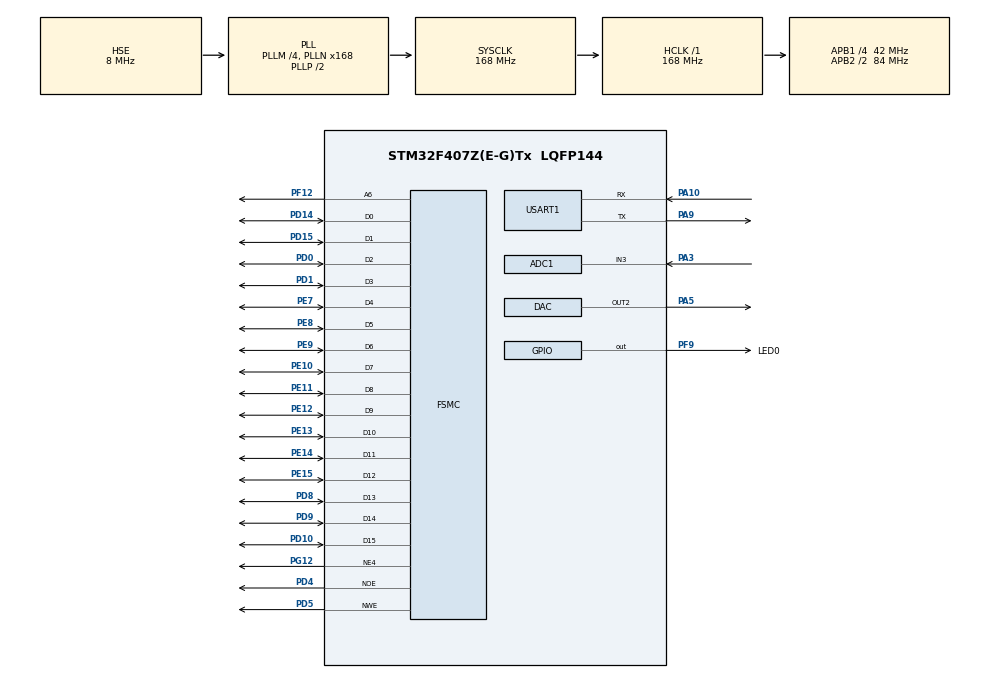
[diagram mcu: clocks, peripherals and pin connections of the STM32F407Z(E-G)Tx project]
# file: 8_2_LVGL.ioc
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ADC1.Channel-1\#ChannelRegularConversion=ADC_CHANNEL_3
ADC1.ContinuousConvMode=DISABLE
ADC1.ExternalTrigConv=ADC_EXTERNALTRIGCONV_T8_TRGO
ADC1.NbrOfConversionFlag=1
ADC1.Rank-1\#ChannelRegularConversion=1
ADC1.SamplingTime-1\#ChannelRegularConversion=ADC_SAMPLETIME_3CYCLES
ADC1.master=1
DAC.DAC_OutputBuffer2=DAC_OUTPUTBUFFER_DISABLE
DAC.DAC_Trigger2=DAC_TRIGGER_T2_TRGO
Dma.ADC1.1.Direction=DMA_PERIPH_TO_MEMORY
Dma.ADC1.1.FIFOMode=DMA_FIFOMODE_DISABLE
Dma.ADC1.1.Instance=DMA2_Stream0
Dma.ADC1.1.MemDataAlignment=DMA_MDATAALIGN_WORD
Dma.ADC1.1.MemInc=DMA_MINC_ENABLE
Dma.ADC1.1.Mode=DMA_NORMAL
Dma.ADC1.1.PeriphDataAlignment=DMA_PDATAALIGN_WORD
Dma.ADC1.1.PeriphInc=DMA_PINC_DISABLE
Dma.ADC1.1.Priority=DMA_PRIORITY_LOW
Dma.DAC2.0.Direction=DMA_MEMORY_TO_PERIPH
Dma.DAC2.0.FIFOMode=DMA_FIFOMODE_DISABLE
Dma.DAC2.0.Instance=DMA1_Stream6
Dma.DAC2.0.MemDataAlignment=DMA_MDATAALIGN_HALFWORD
Dma.DAC2.0.MemInc=DMA_MINC_ENABLE
Dma.DAC2.0.Mode=DMA_CIRCULAR
Dma.DAC2.0.PeriphDataAlignment=DMA_PDATAALIGN_HALFWORD
Dma.DAC2.0.PeriphInc=DMA_PINC_DISABLE
Dma.DAC2.0.Priority=DMA_PRIORITY_LOW
Dma.Request0=DAC2
Dma.Request1=ADC1
FSMC.BusTurnAroundDuration1=0
FSMC.DataSetupTime1=60
FSMC.ExtendedAddressSetupTime1=9
FSMC.ExtendedBusTurnAroundDuration1=0
FSMC.ExtendedDataSetupTime1=8
FSMC.ExtendedMode1=FSMC_EXTENDED_MODE_ENABLE
Mcu.Family=STM32F4
Mcu.Name=STM32F407Z(E-G)Tx
Mcu.Package=LQFP144
NVIC.DMA1_Stream6_IRQn=true\:0\:0\:false\:false\:true\:false\:true\:true
NVIC.DMA2_Stream0_IRQn=true\:0\:0\:false\:false\:true\:false\:true\:true
NVIC.PriorityGroup=NVIC_PRIORITYGROUP_4
NVIC.TIM1_TRG_COM_TIM11_IRQn=true\:0\:0\:false\:false\:true\:true\:true\:true
NVIC.TIM1_UP_TIM10_IRQn=true\:6\:0\:true\:false\:true\:true\:true\:true
PA10.Mode=Asynchronous
PA10.Signal=USART1_RX
PA13.Mode=Serial_Wire
PA13.Signal=SYS_JTMS-SWDIO
PA14.Mode=Serial_Wire
PA14.Signal=SYS_JTCK-SWCLK
PA3.Signal=ADCx_IN3
PA5.Signal=COMP_DAC2_group
PA9.Mode=Asynchronous
PA9.Signal=USART1_TX
PD0.Signal=FSMC_D2_DA2
PD1.Signal=FSMC_D3_DA3
PD10.Signal=FSMC_D15_DA15
PD14.Signal=FSMC_D0_DA0
PD15.Signal=FSMC_D1_DA1
PD4.Signal=FSMC_NOE
PD5.Signal=FSMC_NWE
PD8.Signal=FSMC_D13_DA13
PD9.Signal=FSMC_D14_DA14
PE10.Signal=FSMC_D7_DA7
PE11.Signal=FSMC_D8_DA8
PE12.Signal=FSMC_D9_DA9
PE13.Signal=FSMC_D10_DA10
PE14.Signal=FSMC_D11_DA11
PE15.Signal=FSMC_D12_DA12
PE7.Signal=FSMC_D4_DA4
PE8.Signal=FSMC_D5_DA5
PE9.Signal=FSMC_D6_DA6
PF12.Signal=FSMC_A6
PF9.GPIO_Label=LED0
PF9.Signal=GPIO_Output
PG12.Mode=NorPsramChipSelect4_1
PG12.Signal=FSMC_NE4
PH0-OSC_IN.Mode=HSE-External-Oscillator
PH0-OSC_IN.Signal=RCC_OSC_IN
PH1-OSC_OUT.Mode=HSE-External-Oscillator
PH1-OSC_OUT.Signal=RCC_OSC_OUT
ProjectManager.HeapSize=0x200
ProjectManager.StackSize=0x400
ProjectManager.TargetToolchain=MDK-ARM V5.32
RCC.48MHZClocksFreq_Value=84000000
RCC.AHBFreq_Value=168000000
RCC.APB1CLKDivider=RCC_HCLK_DIV4
RCC.APB1Freq_Value=42000000
RCC.APB1TimFreq_Value=84000000
RCC.APB2CLKDivider=RCC_HCLK_DIV2
RCC.APB2Freq_Value=84000000
RCC.APB2TimFreq_Value=168000000
RCC.CortexFreq_Value=168000000
RCC.HCLKFreq_Value=168000000
RCC.HSE_VALUE=8000000
RCC.HSI_VALUE=16000000
RCC.LSE_VALUE=32768
RCC.PLLM=4
RCC.PLLN=168
RCC.PLLSourceVirtual=RCC_PLLSOURCE_HSE
RCC.SYSCLKFreq_VALUE=168000000
RCC.SYSCLKSource=RCC_SYSCLKSOURCE_PLLCLK
RCC.VCOOutputFreq_Value=336000000
SH.ADCx_IN3.0=ADC1_IN3,IN3
SH.COMP_DAC2_group.0=DAC_OUT2,DAC_OUT2
SH.FSMC_A6.0=FSMC_A6,A6_1
SH.FSMC_D0_DA0.0=FSMC_D0,16b-d1
SH.FSMC_D10_DA10.0=FSMC_D10,16b-d1
SH.FSMC_D11_DA11.0=FSMC_D11,16b-d1
SH.FSMC_D12_DA12.0=FSMC_D12,16b-d1
SH.FSMC_D13_DA13.0=FSMC_D13,16b-d1
SH.FSMC_D14_DA14.0=FSMC_D14,16b-d1
SH.FSMC_D15_DA15.0=FSMC_D15,16b-d1
SH.FSMC_D1_DA1.0=FSMC_D1,16b-d1
SH.FSMC_D2_DA2.0=FSMC_D2,16b-d1
SH.FSMC_D3_DA3.0=FSMC_D3,16b-d1
SH.FSMC_D4_DA4.0=FSMC_D4,16b-d1
SH.FSMC_D5_DA5.0=FSMC_D5,16b-d1
SH.FSMC_D6_DA6.0=FSMC_D6,16b-d1
SH.FSMC_D7_DA7.0=FSMC_D7,16b-d1
SH.FSMC_D8_DA8.0=FSMC_D8,16b-d1
SH.FSMC_D9_DA9.0=FSMC_D9,16b-d1
SH.FSMC_NOE.0=FSMC_NOE,Lcd1
SH.FSMC_NWE.0=FSMC_NWE,Lcd1
TIM10.Period=9999
TIM10.Prescaler=16799
TIM11.Period=999
TIM11.Prescaler=167
TIM2.AutoReloadPreload=TIM_AUTORELOAD_PRELOAD_ENABLE
TIM2.Period=4199
TIM2.TIM_MasterOutputTrigger=TIM_TRGO_UPDATE
TIM8.AutoReloadPreload=TIM_AUTORELOAD_PRELOAD_ENABLE
TIM8.Period=83
TIM8.TIM_MasterOutputTrigger=TIM_TRGO_UPDATE
USART1.VirtualMode=VM_ASYNC
VP_TIM10_VS_ClockSourceINT.Mode=Enable_Timer
VP_TIM11_VS_ClockSourceINT.Mode=Enable_Timer
VP_TIM2_VS_ClockSourceINT.Mode=Internal
VP_TIM8_VS_ClockSourceINT.Mode=Internal
board=custom

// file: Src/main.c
/* USER CODE BEGIN Header */
/**
  ******************************************************************************
  * @file           : main.c
  * @brief          : Main program body
  ******************************************************************************
  * @attention
  *
  * Copyright (c) 2022 STMicroelectronics.
  * All rights reserved.
  *
  * This software is licensed under terms that can be found in the LICENSE file
  * in the root directory of this software component.
  * If no LICENSE file comes with this software, it is provided AS-IS.
  *
  ******************************************************************************
  */
/* USER CODE END Header */
#include "main.h"
#include "adc.h"
#include "dac.h"
#include "dma.h"
#include "tim.h"
#include "usart.h"
#include "gpio.h"
#include "fsmc.h"

/* USER CODE BEGIN Includes */
#include "lvgl.h"
#include "lv_port_disp.h"
#include "demos/widgets/lv_demo_widgets.h"
#include "stdio.h"
#include "ILI93xx.h"
#include "sys.h"
#include "delay.h"
#include "usart.h"
#include "led.h"
#include "key.h"
#include "touch.h"
#include "string.h"
#include "math.h"
#include "stdlib.h"
#include "C:\Users\16004\Desktop\stm32\lvgl-8.2.0\examples\get_started\lv_example_get_started.h"
#include "C:\Users\16004\Desktop\stm32\lvgl-8.2.0\src\hal\lv_hal_indev.h"
extern ADC_HandleTypeDef hadc1;
extern DAC_HandleTypeDef hdac;
/* USER CODE END Includes */

/* USER CODE BEGIN PV */
uint16_t sins[200];
		uint16_t fangbos[200];
		uint16_t	sanjiaobosu[200];
		uint32_t highs[100];
/* USER CODE END PV */

void SystemClock_Config(void);
/* USER CODE BEGIN PFP */
void show_win1();
void show_win2();
void SineWaveGen(uint32_t NPoints, float VMaxRange, uint16_t* SineWaveTable)
{
#ifndef PI
#define PI 3.14159265358979323846
#endif

	int    i       = 0;
	double radian  = 0;  // 弧度
	double setup   = 0;  // 弧度和弧度之间的大小
	double voltage = 0;  // 输出电压

	setup = (2 * PI) / NPoints;  // 两点之间的间距

	while (i < NPoints)
	{
		voltage = VMaxRange / 2.0 * (sin(radian) + 1.0);              // 计算电压
		SineWaveTable[i] = voltage * 4096 / 3.3;          // 电压转为DAC数值
		radian += setup;                                              // 下一个点的弧度
		i++;
	}
}
	void sanjiaobo(float top,uint16_t* sanjiaobos)
{
	int i=1;
	double dig=top/3.3*4095;
	double dv=dig/50;
	sanjiaobos[0]=0;
	while(i<=50&&i>0)
	{
		sanjiaobos[i]=sanjiaobos[i-1]+dv;
		i++;
	}
	while(i>50&&i<=100)
	{
		sanjiaobos[i]=sanjiaobos[i-1]-dv;
		i++;
	}
}
void fangbo(float top,uint16_t* fangbos)
{
	int i=0;
	while(i<50&&i>=0)
	{
		fangbos[i]=top/3.3*4095;
		i++;
	}
	while(i>=50&&i<=99)
	{
		fangbos[i]=0;
		i++;
	}
}

static void btn_event_cb(lv_event_t* e) {
    lv_event_code_t code = lv_event_get_code(e);
    lv_obj_t* btn = lv_event_get_target(e);
    if (code == LV_EVENT_CLICKED) {
        static uint8_t cnt = 0;
        cnt++;
        lv_obj_t* label = lv_obj_get_child(btn, 0);
        lv_label_set_text_fmt(label, "Button: %d", cnt);
    }
}

void lv_example(void) {
    lv_obj_t* btn = lv_btn_create(lv_scr_act());
    lv_obj_set_pos(btn, 10, 10);
    lv_obj_set_size(btn, 120, 50);
    lv_obj_add_event_cb(btn, btn_event_cb, LV_EVENT_ALL, NULL);
    lv_obj_t* label = lv_label_create(btn);
    lv_label_set_text(label, "Button");
    lv_obj_center(label);
}
static void touchpad_read(lv_indev_drv_t * indev_drv, lv_indev_data_t * data);
/* USER CODE END PFP */

/* USER CODE BEGIN 0 */
void HAL_TIM_PeriodElapsedCallback(TIM_HandleTypeDef *htim)
	{

		 if(htim->Instance == TIM11)
	  {
			lv_tick_inc(1);
		}
		if(htim->Instance == TIM10)               //1s触发一次
	  {
		//show_win1();
//printf("tim10");
		}

	}
/* USER CODE END 0 */

int main(void)
{

  /* MCU Configuration--------------------------------------------------------*/

  /* Reset of all peripherals, Initializes the Flash interface and the Systick. */
  HAL_Init();

  /* Configure the system clock */
  SystemClock_Config();

  /* Initialize all configured peripherals */
  MX_GPIO_Init();
  MX_USART1_UART_Init();
  MX_DMA_Init();
  MX_TIM11_Init();
  MX_DAC_Init();
  MX_TIM2_Init();
  MX_FSMC_Init();
  MX_ADC1_Init();
  MX_TIM8_Init();
  MX_TIM10_Init();
  /* USER CODE BEGIN 2 */
	HAL_TIM_Base_Start_IT(&htim11);
	HAL_TIM_Base_Start_IT(&htim2);
	HAL_TIM_Base_Start_IT(&htim8);
 // HAL_TIM_Base_Start_IT(&htim10);

TIM11->ARR=499;
//TIM8->ARR=123;

	TFTLCD_Init();
					delay_init(168);               	//初始化延时函数
					KEY_Init();						//初始化KEY
					tp_dev.init();

   SineWaveGen(100,3.0,sins);
		fangbo(3.0,fangbos);
		 sanjiaobo(3.0,sanjiaobosu);
// 初始化lvgl...
lv_init();

// 初始化lvgl底层屏幕驱动
lv_port_disp_init();
lv_port_indev_init();        //需放在disp_init后面
// 初始化lvgl demo
//lv_demo_widgets();
 //lv_example_get_started_2();
//lv_example_scroll_1();
			test_start();

  /* USER CODE END 2 */

  /* Infinite loop */
  while (1)
  {

    /* USER CODE BEGIN 3 */

		//printf("gg");
		/*POINT_COLOR=RED;
		LCD_DrawRectangle(0,0,50,50);*/

		/*lv_obj_t* btn = lv_btn_create(lv_scr_act());
lv_obj_set_pos(btn, 10, 10);
lv_obj_set_size(btn, 120, 50);
lv_obj_t* label = lv_label_create(btn);
lv_label_set_text(label, "Button");
lv_obj_center(label);*/

//lv_example();
		 //lv_tick_inc(1);
    lv_task_handler();
		tp_dev.scan(0);
	//	lv_tick_inc(1);

   // delay_ms(1);

//	HAL_Delay(5);

	}
  /* USER CODE END 3 */
}

void SystemClock_Config(void)
{
  RCC_OscInitTypeDef RCC_OscInitStruct = {0};
  RCC_ClkInitTypeDef RCC_ClkInitStruct = {0};

  /** Configure the main internal regulator output voltage
  */
  __HAL_RCC_PWR_CLK_ENABLE();
  __HAL_PWR_VOLTAGESCALING_CONFIG(PWR_REGULATOR_VOLTAGE_SCALE1);

  /** Initializes the RCC Oscillators according to the specified parameters
  * in the RCC_OscInitTypeDef structure.
  */
  RCC_OscInitStruct.OscillatorType = RCC_OSCILLATORTYPE_HSE;
  RCC_OscInitStruct.HSEState = RCC_HSE_ON;
  RCC_OscInitStruct.PLL.PLLState = RCC_PLL_ON;
  RCC_OscInitStruct.PLL.PLLSource = RCC_PLLSOURCE_HSE;
  RCC_OscInitStruct.PLL.PLLM = 4;
  RCC_OscInitStruct.PLL.PLLN = 168;
  RCC_OscInitStruct.PLL.PLLP = RCC_PLLP_DIV2;
  RCC_OscInitStruct.PLL.PLLQ = 4;
  if (HAL_RCC_OscConfig(&RCC_OscInitStruct) != HAL_OK)
  {
    Error_Handler();
  }

  /** Initializes the CPU, AHB and APB buses clocks
  */
  RCC_ClkInitStruct.ClockType = RCC_CLOCKTYPE_HCLK|RCC_CLOCKTYPE_SYSCLK
                              |RCC_CLOCKTYPE_PCLK1|RCC_CLOCKTYPE_PCLK2;
  RCC_ClkInitStruct.SYSCLKSource = RCC_SYSCLKSOURCE_PLLCLK;
  RCC_ClkInitStruct.AHBCLKDivider = RCC_SYSCLK_DIV1;
  RCC_ClkInitStruct.APB1CLKDivider = RCC_HCLK_DIV4;
  RCC_ClkInitStruct.APB2CLKDivider = RCC_HCLK_DIV2;

  if (HAL_RCC_ClockConfig(&RCC_ClkInitStruct, FLASH_LATENCY_5) != HAL_OK)
  {
    Error_Handler();
  }
}

/* USER CODE BEGIN 4 */
int fputc(int ch,FILE *f)
{
	 HAL_UART_Transmit(&huart1,(uint8_t*)&ch,1,HAL_MAX_DELAY);
return ch;
}
int fgetc(FILE*f)
{
	uint8_t ch;
	HAL_UART_Receive(&huart1,(uint8_t*)&ch,1,HAL_MAX_DELAY);
	return ch;
}
/* USER CODE END 4 */

void Error_Handler(void)
{
  __disable_irq();
  while (1)
  {
  }
}
